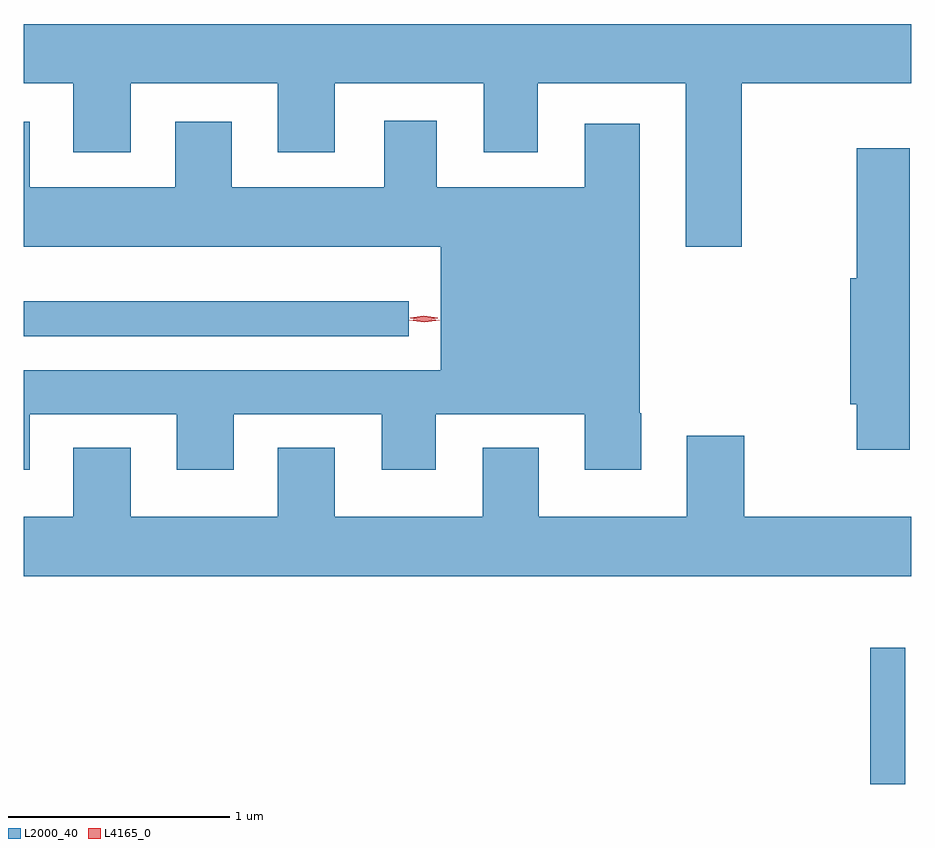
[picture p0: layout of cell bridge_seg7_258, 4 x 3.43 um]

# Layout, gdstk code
import gdstk
lib = gdstk.Library(unit=1e-6, precision=1e-09)
def R(c, l, rs):  # rectangles x0, y0, x1, y1
    for r in rs: c.add(gdstk.rectangle(r[:2], r[2:], *l))
def P(c, l, *ps):  # polygons
    for p in ps: c.add(gdstk.Polygon(p, *l))
L2000_40 = (2000, 40)
L4165_0 = (4165, 0)

bridge_seg7_258 = lib.new_cell('bridge_seg7_258')
R(bridge_seg7_258, L2000_40, [(1439.316,1764.439,1439.474,1765.053), (1435.502,1766.456,1437.238,1766.614)])
P(bridge_seg7_258, L2000_40, [(1438.739,1767.596),(1439.502,1767.596),(1439.502,1767.864),(1435.502,1767.864),(1435.502,1767.596),(1435.726,1767.596),(1435.726,1767.286),(1435.984,1767.286),(1435.984,1767.596),(1436.646,1767.596),(1436.646,1767.286),(1436.904,1767.286),(1436.904,1767.596),(1437.576,1767.596),(1437.576,1767.286),(1437.819,1767.286),(1437.819,1767.596),(1438.486,1767.596),(1438.486,1766.861),(1438.739,1766.861)],
  [(1435.529,1766.106),(1436.191,1766.106),(1436.191,1765.856),(1436.449,1765.856),(1436.449,1766.106),(1437.116,1766.106),(1437.116,1765.856),(1437.359,1765.856),(1437.359,1766.106),(1438.031,1766.106),(1438.031,1765.856),(1438.284,1765.856),(1438.284,1766.11),(1438.279,1766.11),(1438.279,1767.414),(1438.031,1767.414),(1438.031,1767.129),(1437.364,1767.129),(1437.364,1767.429),(1437.126,1767.429),(1437.126,1767.129),(1436.439,1767.129),(1436.439,1767.424),(1436.186,1767.424),(1436.186,1767.129),(1435.529,1767.129),(1435.529,1767.424),(1435.502,1767.424),(1435.502,1766.861),(1437.381,1766.861),(1437.381,1766.304),(1435.502,1766.304),(1435.502,1765.856),(1435.529,1765.856)],
  [(1439.494,1767.304),(1439.256,1767.304),(1439.256,1766.719),(1439.226,1766.719),(1439.226,1766.151),(1439.256,1766.151),(1439.256,1765.946),(1439.494,1765.946)],
  [(1438.491,1766.009),(1438.491,1765.644),(1437.824,1765.644),(1437.824,1765.954),(1437.571,1765.954),(1437.571,1765.644),(1436.904,1765.644),(1436.904,1765.954),(1436.646,1765.954),(1436.646,1765.644),(1435.984,1765.644),(1435.984,1765.954),(1435.726,1765.954),(1435.726,1765.644),(1435.502,1765.644),(1435.502,1765.376),(1439.502,1765.376),(1439.502,1765.644),(1438.749,1765.644),(1438.749,1766.009)])
P(bridge_seg7_258, L4165_0, [(1437.308,1766.519),(1437.24,1766.528),(1437.239,1766.529),(1437.24,1766.53),(1437.308,1766.539),(1437.377,1766.529),(1437.378,1766.529),(1437.377,1766.528)],
  [(1437.305,1766.53),(1437.243,1766.539),(1437.243,1766.539),(1437.243,1766.54),(1437.305,1766.549),(1437.367,1766.54),(1437.368,1766.54),(1437.367,1766.539)])

lib.write_gds('bridge_seg7_258.gds')
